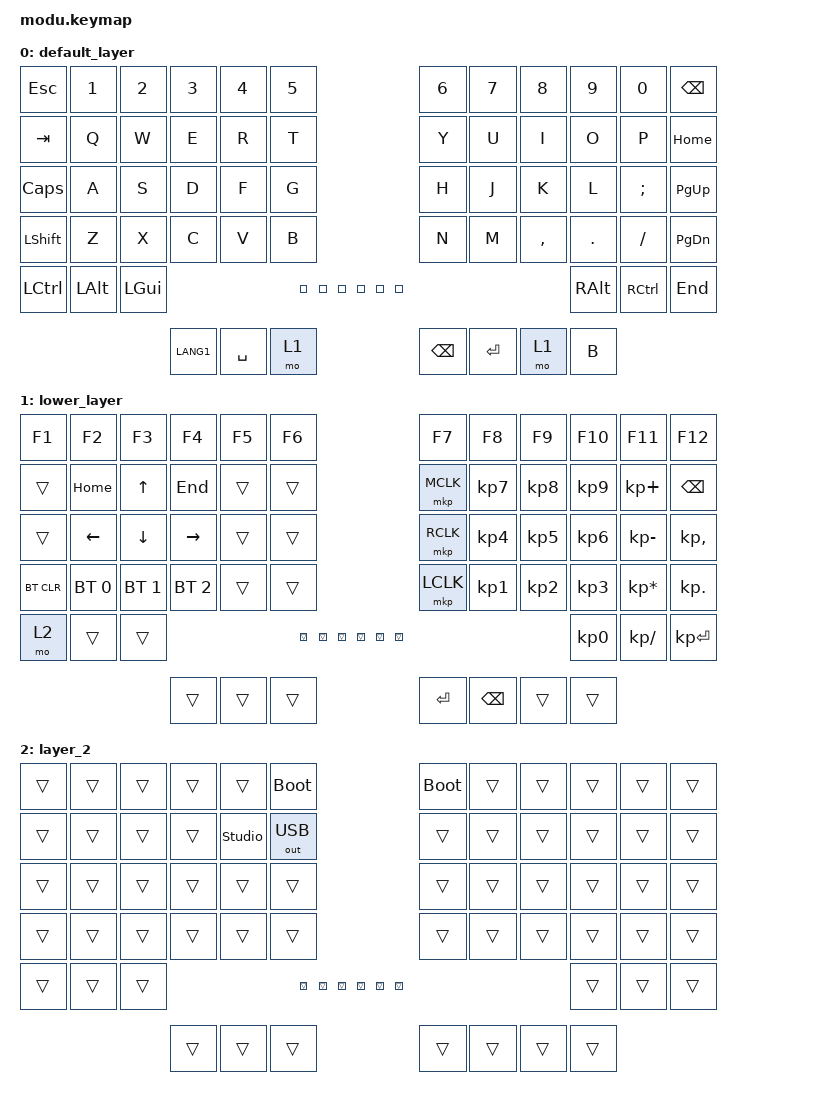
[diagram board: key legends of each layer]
/*
 * Copyright (c) 2026 EKS Inc.
 * Created by Ryu.
 * SPDX-License-Identifier: LicenseRef-EKS-NonCommercial-1.0
 *
 * Unofficial modification, based on upstream commit
 * bee0bb4b812f63f279eb67e928accc89600b5904 and customized through
 * Keymap Editor for GitHub Actions builds.
 */

#include <behaviors.dtsi>
#include <dt-bindings/zmk/bt.h>
#include <dt-bindings/zmk/keys.h>
#include <dt-bindings/zmk/pointing.h>
#include <dt-bindings/zmk/outputs.h>
#include "modu-layouts.dtsi"

/ {
    combos {
        compatible = "zmk,combos";

        reset {
            bindings = <&sys_reset>;
            key-positions = <48 5 6>;
            layers = <1>;
        };
    };

    keymap {
        compatible = "zmk,keymap";

        default_layer {
            // -----------------------------------------------------------------
            // |ESC | 1  | 2  | 3  | 4  | 5  |   | 6  | 7  | 8  | 9  | 0  |DEL |
            // |TAB | Q  | W  | E  | R  | T  |   | Y  | U  | I  | O  | P  |HOME|
            // |CAPS| A  | S  | D  | F  | G  |   | H  | J  | K  | L  | ;  |PGUP|
            // |LSFT| Z  | X  | C  | V  | B  |   | N  | M  | ,  | .  | /  |PGDN|
            // |LCTL|LALT|LGUI|                                 |RALT|RCTL|END |
            //                |LANG|SPC |MO1 |   |BSPC|RET |MO1 | B  |

            bindings = <
&kp ESC    &kp N1     &kp N2    &kp N3  &kp N4  &kp N5  &kp N6    &kp N7   &kp N8     &kp N9    &kp N0     &kp BACKSPACE
&kp TAB    &kp Q      &kp W     &kp E   &kp R   &kp T   &kp Y     &kp U    &kp I      &kp O     &kp P      &kp HOME
&kp CAPS   &kp A      &kp S     &kp D   &kp F   &kp G   &kp H     &kp J    &kp K      &kp L     &kp SEMI   &kp PG_UP
&kp LSHFT  &kp Z      &kp X     &kp C   &kp V   &kp B   &kp N     &kp M    &kp COMMA  &kp DOT   &kp FSLH   &kp PG_DN
&kp LCTRL  &kp LALT   &kp LGUI  &none   &none   &none   &none     &none    &none      &kp RALT  &kp RCTRL  &kp END
&kp LANG1  &kp SPACE  &mo 1                             &kp BSPC  &kp RET  &mo 1      &kp B
            >;
        };

        lower_layer {
            bindings = <
&kp F1      &kp F2        &kp F3        &kp F4        &kp F5  &kp F6  &kp F7     &kp F8         &kp F9     &kp F10    &kp F11          &kp F12
&trans      &kp HOME      &kp UP        &kp END       &trans  &trans  &mkp MCLK  &kp KP_N7      &kp KP_N8  &kp KP_N9  &kp KP_PLUS      &kp BSPC
&trans      &kp LEFT      &kp DOWN      &kp RIGHT     &trans  &trans  &mkp RCLK  &kp KP_N4      &kp KP_N5  &kp KP_N6  &kp KP_MINUS     &kp KP_COMMA
&bt BT_CLR  &bt BT_SEL 0  &bt BT_SEL 1  &bt BT_SEL 2  &trans  &trans  &mkp LCLK  &kp KP_N1      &kp KP_N2  &kp KP_N3  &kp KP_MULTIPLY  &kp KP_DOT
&mo 2       &trans        &trans        &trans        &trans  &trans  &trans     &trans         &trans     &kp KP_N0  &kp KP_DIVIDE    &kp KP_ENTER
&trans      &trans        &trans                                      &kp ENTER  &kp BACKSPACE  &trans     &trans
            >;
        };

        layer_2 {
            // Hold layer 1, then the left Ctrl position (&mo 2).
            // R: Studio unlock; T: USB output. Existing 5/6 bootloader keys remain.
            bindings = <
&trans  &trans  &trans  &trans  &trans  &bootloader  &bootloader  &trans  &trans  &trans  &trans  &trans
&trans  &trans  &trans  &trans  &studio_unlock  &out OUT_USB  &trans  &trans  &trans  &trans  &trans  &trans
&trans  &trans  &trans  &trans  &trans  &trans       &trans       &trans  &trans  &trans  &trans  &trans
&trans  &trans  &trans  &trans  &trans  &trans       &trans       &trans  &trans  &trans  &trans  &trans
&trans  &trans  &trans  &trans  &trans  &trans       &trans       &trans  &trans  &trans  &trans  &trans
&trans  &trans  &trans                               &trans       &trans  &trans  &trans
            >;
        };
    };
};
